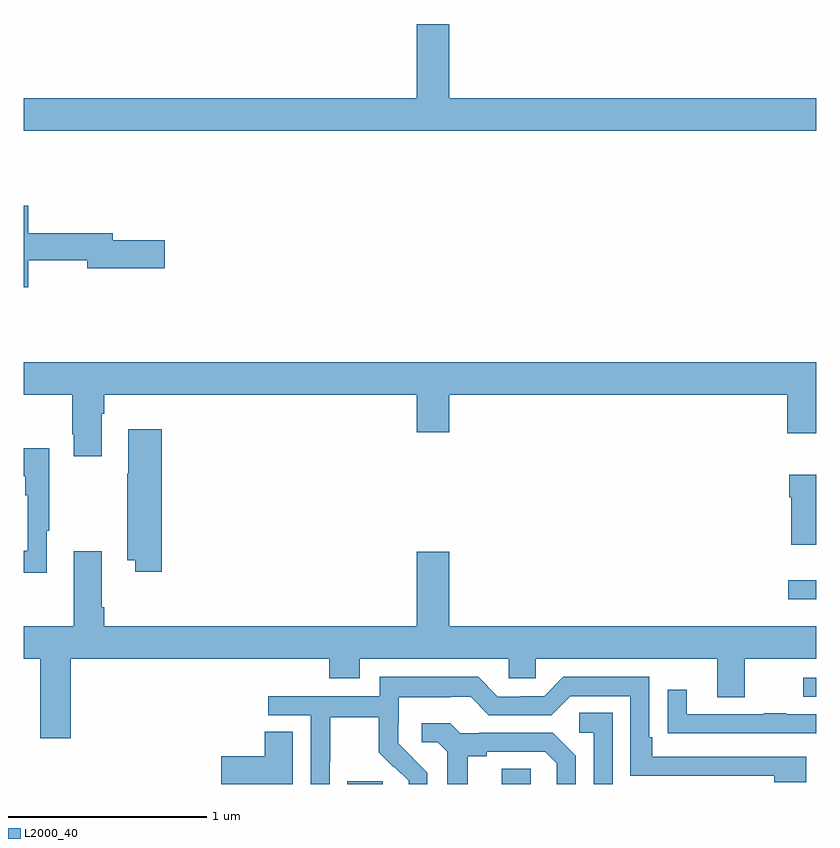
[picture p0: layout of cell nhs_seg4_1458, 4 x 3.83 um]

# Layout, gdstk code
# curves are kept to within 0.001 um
import gdstk
lib = gdstk.Library(unit=1e-6, precision=1e-09)
def R(c, l, rs):  # rectangles x0, y0, x1, y1
    for r in rs: c.add(gdstk.rectangle(r[:2], r[2:], *l))
def P(c, l, *ps):  # polygons
    for p in ps: c.add(gdstk.Polygon(p, *l))
L2000_40 = (2000, 40)

nhs_seg4_1458 = lib.new_cell('nhs_seg4_1458')
R(nhs_seg4_1458, L2000_40, [(188.633,750.9,188.812,750.915), (189.413,750.9,189.558,750.977), (190.935,751.341,191,751.437), (190.857,751.832,191,751.929)])
P(nhs_seg4_1458, L2000_40, [(191,754.36),(189.148,754.36),(189.148,754.735),(188.984,754.735),(188.984,754.36),(187,754.36),(187,754.196),(191,754.196)],
  [(187.024,753.544),(187.322,753.544),(187.322,753.502),(187.711,753.502),(187.711,753.644),(187.45,753.644),(187.45,753.68),(187.024,753.68),(187.024,753.817),(187,753.817),(187,753.407),(187.024,753.407)],
  [(187.393,752.768),(187.406,752.768),(187.406,752.864),(188.984,752.864),(188.984,752.676),(189.148,752.676),(189.148,752.864),(190.853,752.864),(190.853,752.67),(191,752.67),(191,753.028),(187,753.028),(187,752.864),(187.246,752.864),(187.246,752.665),(187.253,752.665),(187.253,752.553),(187.393,752.553)],
  [(187.697,752.689),(187.529,752.689),(187.529,752.465),(187.522,752.465),(187.522,752.03),(187.562,752.03),(187.562,751.971),(187.697,751.971)],
  [(187.117,752.177),(187.129,752.177),(187.129,752.593),(187,752.593),(187,752.453),(187.008,752.453),(187.008,752.357),(187.02,752.357),(187.02,752.078),(187,752.078),(187,751.965),(187.117,751.965)],
  [(191,752.461),(190.862,752.461),(190.862,752.348),(190.874,752.348),(190.874,752.108),(191,752.108)],
  [(187.238,751.532),(188.543,751.532),(188.543,751.433),(188.695,751.433),(188.695,751.532),(189.447,751.532),(189.447,751.434),(189.585,751.434),(189.585,751.532),(190.499,751.532),(190.499,751.338),(190.639,751.338),(190.639,751.532),(191,751.532),(191,751.696),(189.148,751.696),(189.148,752.071),(188.984,752.071),(188.984,751.696),(187.406,751.696),(187.406,751.792),(187.393,751.792),(187.393,752.074),(187.253,752.074),(187.253,751.696),(187,751.696),(187,751.532),(187.085,751.532),(187.085,751.131),(187.238,751.131)],
  [(188.544,751.012),(188.547,751.012),(188.547,751.236),(188.791,751.236),(188.791,751.061),(188.868,750.984),(188.871,750.987),(188.942,750.917),(188.942,750.9),(189.036,750.9),(189.036,750.958),(188.89,751.106),(188.89,751.203),(188.892,751.203),(188.892,751.337),(189.155,751.337),(189.155,751.341),(189.255,751.341),(189.348,751.248),(189.663,751.248),(189.759,751.344),(190.062,751.344),(190.062,750.942),(190.787,750.942),(190.787,750.908),(190.948,750.908),(190.948,751.038),(190.171,751.038),(190.171,751.135),(190.158,751.135),(190.158,751.44),(189.723,751.44),(189.627,751.344),(189.509,751.344),(189.509,751.341),(189.393,751.341),(189.293,751.441),(188.796,751.441),(188.796,751.344),(188.235,751.344),(188.235,751.248),(188.448,751.248),(188.448,750.9),(188.544,750.9)],
  [(191,751.251),(190.847,751.251),(190.847,751.256),(190.735,751.256),(190.735,751.251),(190.345,751.251),(190.345,751.375),(190.249,751.375),(190.249,751.156),(190.351,751.156),(190.351,751.155),(191,751.155)],
  [(189.972,751.259),(189.804,751.259),(189.804,751.158),(189.876,751.158),(189.876,750.9),(189.972,750.9)],
  [(189.241,751.04),(189.337,751.04),(189.337,751.062),(189.632,751.062),(189.689,751.005),(189.689,750.9),(189.786,750.9),(189.786,751.042),(189.67,751.158),(189.298,751.158),(189.298,751.155),(189.204,751.155),(189.152,751.207),(189.009,751.207),(189.009,751.11),(189.09,751.11),(189.137,751.063),(189.137,750.9),(189.241,750.9)],
  [(188.359,751.163),(188.216,751.163),(188.216,751.04),(187.998,751.04),(187.998,750.9),(188.359,750.9)])

lib.write_gds('nhs_seg4_1458.gds')
